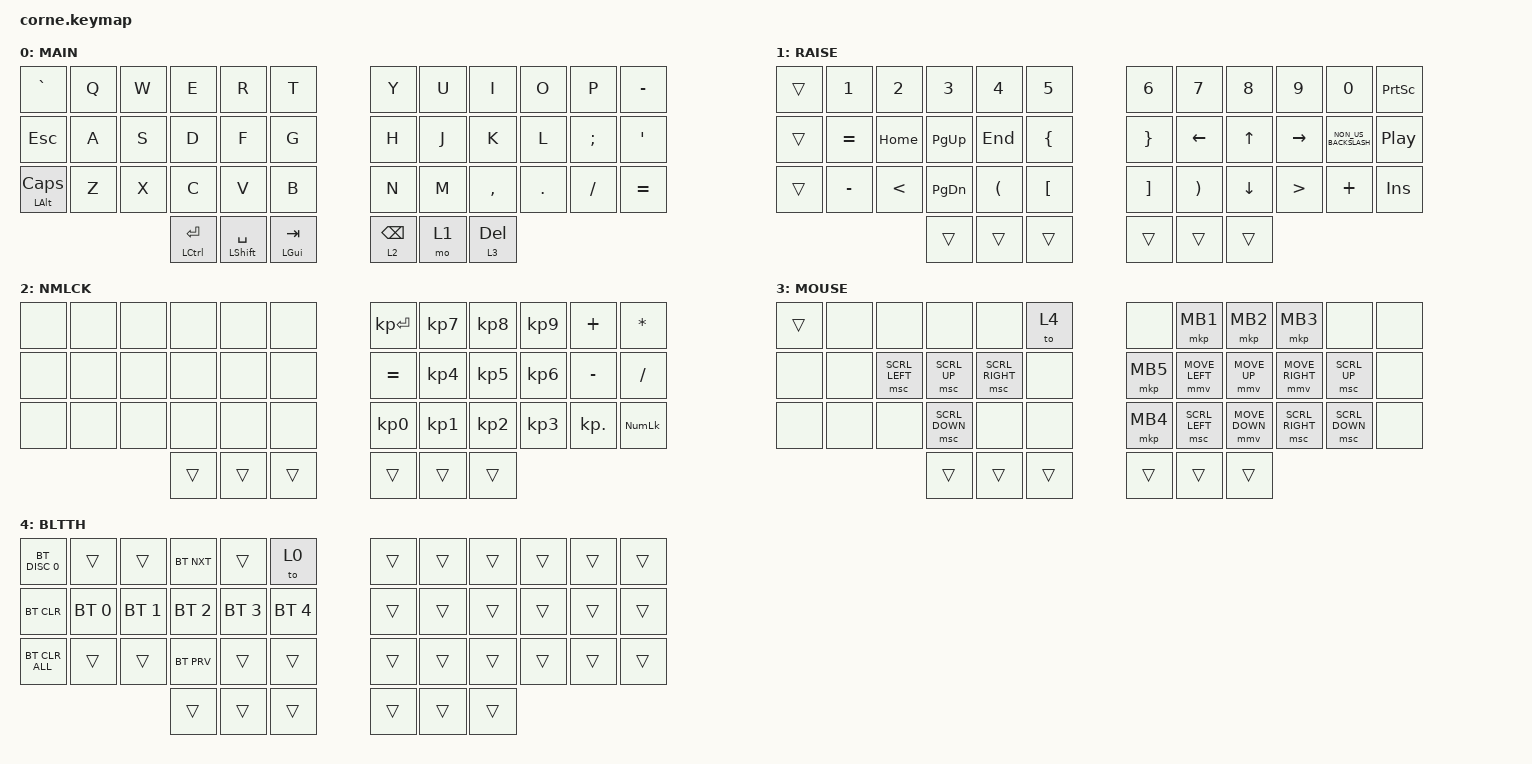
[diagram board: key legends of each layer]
/*
 * Copyright (c) 2020 The ZMK Contributors
 *
 * SPDX-License-Identifier: MIT
 */

#include <behaviors.dtsi>
#include <dt-bindings/zmk/bt.h>
#include <dt-bindings/zmk/keys.h>
#include <dt-bindings/zmk/pointing.h>

/ {
    keymap {
        compatible = "zmk,keymap";

        MAIN {
            display-name = "MAIN";
            bindings = <
&kp GRAVE              &kp Q  &kp W  &kp E                   &kp R                 &kp T               &kp Y            &kp U  &kp I         &kp O    &kp P     &kp MINUS
&kp ESC                &kp A  &kp S  &kp D                   &kp F                 &kp G               &kp H            &kp J  &kp K         &kp L    &kp SEMI  &kp SQT
&mt LEFT_ALT CAPSLOCK  &kp Z  &kp X  &kp C                   &kp V                 &kp B               &kp N            &kp M  &kp COMMA     &kp DOT  &kp FSLH  &kp EQUAL
                                     &mt LEFT_CONTROL ENTER  &mt LEFT_SHIFT SPACE  &mt LEFT_GUI TAB    &lt 2 BACKSPACE  &mo 1  &lt 3 DELETE
            >;
        };

        RAISE {
            display-name = "RAISE";
            bindings = <
&trans  &kp N1     &kp N2         &kp N3         &kp N4                &kp N5              &kp N6             &kp N7                 &kp N8    &kp N9            &kp N0                &kp PRINTSCREEN
&trans  &kp EQUAL  &kp HOME       &kp PAGE_UP    &kp END               &kp LEFT_BRACE      &kp RIGHT_BRACE    &kp LEFT_ARROW         &kp UP    &kp RIGHT         &kp NON_US_BACKSLASH  &kp C_PLAY_PAUSE
&trans  &kp MINUS  &kp LESS_THAN  &kp PAGE_DOWN  &kp LEFT_PARENTHESIS  &kp LEFT_BRACKET    &kp RIGHT_BRACKET  &kp RIGHT_PARENTHESIS  &kp DOWN  &kp GREATER_THAN  &kp PLUS              &kp INSERT
                                  &trans         &trans                &trans              &trans             &trans                 &trans
            >;
        };

        NMLCK {
            display-name = "NMLCK";
            bindings = <
&none  &none  &none  &none   &none   &none     &kp KP_ENTER     &kp KP_NUMBER_7  &kp KP_NUMBER_8  &kp KP_NUMBER_9  &kp PLUS    &kp ASTERISK
&none  &none  &none  &none   &none   &none     &kp EQUAL        &kp KP_NUMBER_4  &kp KP_NUMBER_5  &kp KP_NUMBER_6  &kp MINUS   &kp SLASH
&none  &none  &none  &none   &none   &none     &kp KP_NUMBER_0  &kp KP_NUMBER_1  &kp KP_NUMBER_2  &kp KP_NUMBER_3  &kp KP_DOT  &kp KP_NUMLOCK
                     &trans  &trans  &trans    &trans           &trans           &trans
            >;
        };

        MOUSE {
            display-name = "MOUSE";
            bindings = <
&trans  &none  &none           &none           &none            &to 4     &none     &mkp MB1        &mkp MB2        &mkp MB3         &none           &none
&none   &none  &msc SCRL_LEFT  &msc SCRL_UP    &msc SCRL_RIGHT  &none     &mkp MB5  &mmv MOVE_LEFT  &mmv MOVE_UP    &mmv MOVE_RIGHT  &msc SCRL_UP    &none
&none   &none  &none           &msc SCRL_DOWN  &none            &none     &mkp MB4  &msc SCRL_LEFT  &mmv MOVE_DOWN  &msc SCRL_RIGHT  &msc SCRL_DOWN  &none
                               &trans          &trans           &trans    &trans    &trans          &trans
            >;
        };

        BLTTH {
            display-name = "BLTTH";
            bindings = <
&bt BT_DISC 0   &trans        &trans        &bt BT_NXT    &trans        &to 0           &trans  &trans  &trans  &trans  &trans  &trans
&bt BT_CLR      &bt BT_SEL 0  &bt BT_SEL 1  &bt BT_SEL 2  &bt BT_SEL 3  &bt BT_SEL 4    &trans  &trans  &trans  &trans  &trans  &trans
&bt BT_CLR_ALL  &trans        &trans        &bt BT_PRV    &trans        &trans          &trans  &trans  &trans  &trans  &trans  &trans
                                            &trans        &trans        &trans          &trans  &trans  &trans
            >;
        };
    };
};
